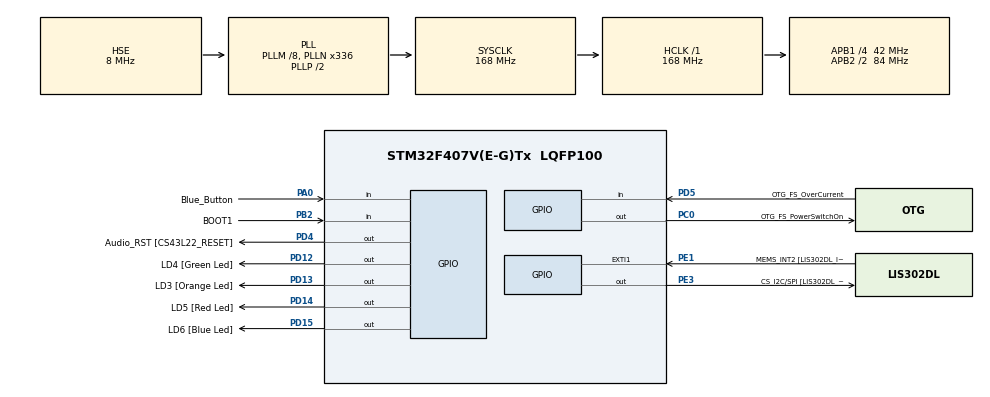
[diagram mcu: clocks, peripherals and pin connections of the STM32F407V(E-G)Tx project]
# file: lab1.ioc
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Mcu.Family=STM32F4
Mcu.Name=STM32F407V(E-G)Tx
Mcu.Package=LQFP100
NVIC.PriorityGroup=NVIC_PRIORITYGROUP_4
NVIC.TIM7_IRQn=true\:0\:0\:false\:false\:true\:false\:true\:true
NVIC.TimeBase=TIM7_IRQn
NVIC.TimeBaseIP=TIM7
PA0-WKUP.GPIO_Label=Blue_Button
PA0-WKUP.Signal=GPIO_Input
PA10.GPIO_Label=OTG_FS_ID
PA10.GPIO_Mode=GPIO_MODE_AF_PP
PA10.GPIO_PuPd=GPIO_NOPULL
PA10.GPIO_Speed=GPIO_SPEED_FREQ_LOW
PA10.Signal=USB_OTG_FS_ID
PA11.GPIO_Label=OTG_FS_DM
PA11.GPIO_Mode=GPIO_MODE_AF_PP
PA11.GPIO_PuPd=GPIO_NOPULL
PA11.GPIO_Speed=GPIO_SPEED_FREQ_LOW
PA11.Signal=USB_OTG_FS_DM
PA12.GPIO_Label=OTG_FS_DP
PA12.GPIO_Mode=GPIO_MODE_AF_PP
PA12.GPIO_PuPd=GPIO_NOPULL
PA12.GPIO_Speed=GPIO_SPEED_FREQ_LOW
PA12.Signal=USB_OTG_FS_DP
PA13.GPIO_Label=SWDIO
PA13.Mode=Serial_Wire
PA13.Signal=SYS_JTMS-SWDIO
PA14.GPIO_Label=SWCLK
PA14.Mode=Serial_Wire
PA14.Signal=SYS_JTCK-SWCLK
PA4.GPIO_Label=I2S3_WS [CS43L22_LRCK]
PA4.GPIO_Mode=GPIO_MODE_AF_PP
PA4.GPIO_PuPd=GPIO_NOPULL
PA4.GPIO_Speed=GPIO_SPEED_FREQ_LOW
PA4.Signal=I2S3_WS
PA5.GPIO_Label=SPI1_SCK [LIS302DL_SCL/SPC]
PA5.GPIO_Mode=GPIO_MODE_AF_PP
PA5.GPIO_PuPd=GPIO_NOPULL
PA5.GPIO_Speed=GPIO_SPEED_FREQ_LOW
PA5.Signal=SPI1_SCK
PA6.GPIO_Label=SPI1_MISO [LIS302DL_SDO]
PA6.GPIO_Mode=GPIO_MODE_AF_PP
PA6.GPIO_PuPd=GPIO_NOPULL
PA6.GPIO_Speed=GPIO_SPEED_FREQ_LOW
PA6.Signal=SPI1_MISO
PA7.GPIO_Label=SPI1_MOSI [LIS302DL_SDA/SDI/SDO]
PA7.GPIO_Mode=GPIO_MODE_AF_PP
PA7.GPIO_PuPd=GPIO_NOPULL
PA7.GPIO_Speed=GPIO_SPEED_FREQ_LOW
PA7.Signal=SPI1_MOSI
PA9.GPIO_Label=VBUS_FS
PA9.GPIO_Mode=GPIO_MODE_INPUT
PA9.GPIO_PuPd=GPIO_NOPULL
PA9.Signal=USB_OTG_FS_VBUS
PB10.GPIO_Label=CLK_IN [MP45DT02_CLK]
PB10.GPIO_Mode=GPIO_MODE_AF_PP
PB10.GPIO_PuPd=GPIO_NOPULL
PB10.GPIO_Speed=GPIO_SPEED_FREQ_LOW
PB10.Signal=I2S2_CK
PB2.GPIO_Label=BOOT1
PB2.GPIO_Mode=GPIO_MODE_INPUT
PB2.GPIO_PuPd=GPIO_NOPULL
PB2.Signal=GPIO_Input
PB3.GPIO_Label=SWO
PB3.Signal=SYS_JTDO-SWO
PB6.GPIO_Label=Audio_SCL [CS43L22_SCL]
PB6.GPIO_Mode=GPIO_MODE_AF_OD
PB6.GPIO_Pu=GPIO_PULLUP
PB6.GPIO_PuPd=GPIO_NOPULL
PB6.GPIO_Speed=GPIO_SPEED_FREQ_LOW
PB6.Signal=I2C1_SCL
PB9.GPIO_Label=Audio_SDA [CS43L22_SDA]
PB9.GPIO_Mode=GPIO_MODE_AF_OD
PB9.GPIO_Pu=GPIO_PULLUP
PB9.GPIO_PuPd=GPIO_NOPULL
PB9.GPIO_Speed=GPIO_SPEED_FREQ_LOW
PB9.Signal=I2C1_SDA
PC0.GPIO_Label=OTG_FS_PowerSwitchOn
PC0.GPIO_PuPd=GPIO_NOPULL
PC0.GPIO_Speed=GPIO_SPEED_FREQ_LOW
PC0.PinState=GPIO_PIN_SET
PC0.Signal=GPIO_Output
PC10.GPIO_Label=I2S3_SCK [CS43L22_SCLK]
PC10.GPIO_Mode=GPIO_MODE_AF_PP
PC10.GPIO_PuPd=GPIO_NOPULL
PC10.GPIO_Speed=GPIO_SPEED_FREQ_LOW
PC10.Signal=I2S3_CK
PC12.GPIO_Label=I2S3_SD [CS43L22_SDIN]
PC12.GPIO_Mode=GPIO_MODE_AF_PP
PC12.GPIO_PuPd=GPIO_NOPULL
PC12.GPIO_Speed=GPIO_SPEED_FREQ_LOW
PC12.Signal=I2S3_SD
PC14-OSC32_IN.GPIO_Label=PC14-OSC32_IN
PC14-OSC32_IN.Mode=LSE-External-Oscillator
PC14-OSC32_IN.Signal=RCC_OSC32_IN
PC15-OSC32_OUT.GPIO_Label=PC15-OSC32_OUT
PC15-OSC32_OUT.Mode=LSE-External-Oscillator
PC15-OSC32_OUT.Signal=RCC_OSC32_OUT
PC3.GPIO_Label=PDM_OUT [MP45DT02_DOUT]
PC3.GPIO_Mode=GPIO_MODE_AF_PP
PC3.GPIO_PuPd=GPIO_NOPULL
PC3.GPIO_Speed=GPIO_SPEED_FREQ_LOW
PC3.Signal=I2S2_SD
PC7.GPIO_Label=I2S3_MCK [CS43L22_MCLK]
PC7.GPIO_Mode=GPIO_MODE_AF_PP
PC7.GPIO_PuPd=GPIO_NOPULL
PC7.GPIO_Speed=GPIO_SPEED_FREQ_LOW
PC7.Signal=I2S3_MCK
PD12.GPIO_Label=LD4 [Green Led]
PD12.GPIO_PuPd=GPIO_NOPULL
PD12.GPIO_Speed=GPIO_SPEED_FREQ_LOW
PD12.Signal=GPIO_Output
PD13.GPIO_Label=LD3 [Orange Led]
PD13.GPIO_PuPd=GPIO_NOPULL
PD13.GPIO_Speed=GPIO_SPEED_FREQ_LOW
PD13.Signal=GPIO_Output
PD14.GPIO_Label=LD5 [Red Led]
PD14.GPIO_PuPd=GPIO_NOPULL
PD14.GPIO_Speed=GPIO_SPEED_FREQ_LOW
PD14.Signal=GPIO_Output
PD15.GPIO_Label=LD6 [Blue Led]
PD15.GPIO_PuPd=GPIO_NOPULL
PD15.GPIO_Speed=GPIO_SPEED_FREQ_LOW
PD15.Signal=GPIO_Output
PD4.GPIO_Label=Audio_RST [CS43L22_RESET]
PD4.GPIO_PuPd=GPIO_NOPULL
PD4.GPIO_Speed=GPIO_SPEED_FREQ_LOW
PD4.Signal=GPIO_Output
PD5.GPIO_Label=OTG_FS_OverCurrent
PD5.GPIO_Mode=GPIO_MODE_INPUT
PD5.GPIO_PuPd=GPIO_NOPULL
PD5.Signal=GPIO_Input
PE1.GPIO_Label=MEMS_INT2 [LIS302DL_INT2]
PE1.GPIO_ModeDefaultEXTI=GPIO_MODE_EVT_RISING
PE1.GPIO_PuPd=GPIO_NOPULL
PE1.Signal=GPXTI1
PE3.GPIO_Label=CS_I2C/SPI [LIS302DL_CS_I2C/SPI]
PE3.GPIO_PuPd=GPIO_NOPULL
PE3.GPIO_Speed=GPIO_SPEED_FREQ_LOW
PE3.Signal=GPIO_Output
PH0-OSC_IN.GPIO_Label=PH0-OSC_IN
PH0-OSC_IN.Mode=HSE-External-Oscillator
PH0-OSC_IN.Signal=RCC_OSC_IN
PH1-OSC_OUT.GPIO_Label=PH1-OSC_OUT
PH1-OSC_OUT.Mode=HSE-External-Oscillator
PH1-OSC_OUT.Signal=RCC_OSC_OUT
ProjectManager.HeapSize=0x200
ProjectManager.StackSize=0x400
ProjectManager.TargetToolchain=CMake
RCC.48MHZClocksFreq_Value=48000000
RCC.AHBFreq_Value=168000000
RCC.APB1CLKDivider=RCC_HCLK_DIV4
RCC.APB1Freq_Value=42000000
RCC.APB1TimFreq_Value=84000000
RCC.APB2CLKDivider=RCC_HCLK_DIV2
RCC.APB2Freq_Value=84000000
RCC.APB2TimFreq_Value=168000000
RCC.CortexFreq_Value=168000000
RCC.HCLKFreq_Value=168000000
RCC.HSE_VALUE=8000000
RCC.HSI_VALUE=16000000
RCC.PLLM=8
RCC.PLLN=336
RCC.PLLQ=7
RCC.PLLSourceVirtual=RCC_PLLSOURCE_HSE
RCC.SYSCLKFreq_VALUE=168000000
RCC.SYSCLKSource=RCC_SYSCLKSOURCE_PLLCLK
RCC.VCOOutputFreq_Value=336000000
VP_SYS_VS_tim7.Mode=TIM7
board=STM32F407G-DISC1

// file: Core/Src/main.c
/* USER CODE BEGIN Header */
/**
 ******************************************************************************
 * @file           : main.c
 * @brief          : Main program body
 ******************************************************************************
 * @attention
 *
 * Copyright (c) 2026 STMicroelectronics.
 * All rights reserved.
 *
 * This software is licensed under terms that can be found in the LICENSE file
 * in the root directory of this software component.
 * If no LICENSE file comes with this software, it is provided AS-IS.
 *
 ******************************************************************************
 */
/* USER CODE END Header */
#include "main.h"

/* USER CODE BEGIN Includes */
#include "FreeRTOS.h"
#include "queue.h"
#include "task.h"
/* USER CODE END Includes */

/* USER CODE BEGIN PM */
#define blink(pin, delay)                                                      \
  do {                                                                         \
    HAL_GPIO_WritePin(GPIOD, pin, GPIO_PIN_SET);                               \
    vTaskDelay(pdMS_TO_TICKS(delay));                                          \
    HAL_GPIO_WritePin(GPIOD, pin, GPIO_PIN_RESET);                             \
  } while (0)

#define keyPressed() (HAL_GPIO_ReadPin(GPIOA, GPIO_PIN_0) == GPIO_PIN_SET)
/* USER CODE END PM */

/* USER CODE BEGIN PV */
TaskHandle_t xLEDHandle = NULL;
TaskHandle_t xButtonHandle = NULL;

xQueueHandle xMsgQueue;
/* USER CODE END PV */

void SystemClock_Config(void);
static void MX_GPIO_Init(void);

/* USER CODE BEGIN 0 */
void LEDTask(void *pvParameters) {
  uint8_t ucSignal;
  uint8_t ucState = 0; // 0: s1, 1: s2
  uint8_t ucColor = 0; // 0: red, 1: orange, 2: green

  while (1) {
    if (xQueueReceive(xMsgQueue, &ucSignal, 0) == pdTRUE) {
      // Toggle the state
      ucState = (ucState == 0) ? 1 : 0;
    }

    if (ucState == 0) { // s1
      switch (ucColor) {
      case 0: // red
        blink(GPIO_PIN_14, 1000);
        ucColor = 1;
        break;
      case 1: // orange
        blink(GPIO_PIN_13, 1000);
        ucColor = 2;
        break;
      case 2: // green
        blink(GPIO_PIN_12, 1000);
        ucColor = 0;
        break;
      }
    } else { // s2
      blink(GPIO_PIN_13, 500);
      vTaskDelay(pdMS_TO_TICKS(500));
    }
  }
}

void ButtonTask(void *pvParameters) {
  uint8_t ucState = 0; // 0: resume, 1: suspend
  uint8_t ucCount = 0;
  uint8_t ucSignal = 1;

  while (1) {
    while (keyPressed()) {
      vTaskDelay(10);
      if (!keyPressed()) {
        break;
      }

      // Count how long the button is pressed
      while (keyPressed()) {
        if (ucCount >= 5) {
          break;
        }
        ucCount++;
        vTaskDelay(pdMS_TO_TICKS(200));
      }

      if (ucCount >= 5) { // Press more than 1 sec
        if (ucState == 0) {
          vTaskSuspend(xLEDHandle);
          ucState = 1;
        } else {
          vTaskResume(xLEDHandle);
          ucState = 0;
        }
      } else if (ucState == 0) { // LED is not suspended
        // Send signal to change LED state
        xQueueSend(xMsgQueue, &ucSignal, 0);
      }

      ucCount = 0;

      // Wait until button is released
      while (keyPressed()) {
        vTaskDelay(10);
      }
    }
  }
}
/* USER CODE END 0 */

int main(void) {

  /* MCU Configuration--------------------------------------------------------*/

  /* Reset of all peripherals, Initializes the Flash interface and the Systick.
   */
  HAL_Init();

  /* Configure the system clock */
  SystemClock_Config();

  /* Initialize all configured peripherals */
  MX_GPIO_Init();
  /* USER CODE BEGIN 2 */
  xMsgQueue = xQueueCreate(5, sizeof(uint8_t));

  xTaskCreate(LEDTask, "LED Task", 128, NULL, 3, &xLEDHandle);
  xTaskCreate(ButtonTask, "Button Task", 128, NULL, 1, &xButtonHandle);
  vTaskStartScheduler();
  /* USER CODE END 2 */

  /* Infinite loop */
  while (1) {

  }
}

void SystemClock_Config(void) {
  RCC_OscInitTypeDef RCC_OscInitStruct = {0};
  RCC_ClkInitTypeDef RCC_ClkInitStruct = {0};

  /** Configure the main internal regulator output voltage
   */
  __HAL_RCC_PWR_CLK_ENABLE();
  __HAL_PWR_VOLTAGESCALING_CONFIG(PWR_REGULATOR_VOLTAGE_SCALE1);

  /** Initializes the RCC Oscillators according to the specified parameters
   * in the RCC_OscInitTypeDef structure.
   */
  RCC_OscInitStruct.OscillatorType = RCC_OSCILLATORTYPE_HSE;
  RCC_OscInitStruct.HSEState = RCC_HSE_ON;
  RCC_OscInitStruct.PLL.PLLState = RCC_PLL_ON;
  RCC_OscInitStruct.PLL.PLLSource = RCC_PLLSOURCE_HSE;
  RCC_OscInitStruct.PLL.PLLM = 8;
  RCC_OscInitStruct.PLL.PLLN = 336;
  RCC_OscInitStruct.PLL.PLLP = RCC_PLLP_DIV2;
  RCC_OscInitStruct.PLL.PLLQ = 7;
  if (HAL_RCC_OscConfig(&RCC_OscInitStruct) != HAL_OK) {
    Error_Handler();
  }

  /** Initializes the CPU, AHB and APB buses clocks
   */
  RCC_ClkInitStruct.ClockType = RCC_CLOCKTYPE_HCLK | RCC_CLOCKTYPE_SYSCLK |
                                RCC_CLOCKTYPE_PCLK1 | RCC_CLOCKTYPE_PCLK2;
  RCC_ClkInitStruct.SYSCLKSource = RCC_SYSCLKSOURCE_PLLCLK;
  RCC_ClkInitStruct.AHBCLKDivider = RCC_SYSCLK_DIV1;
  RCC_ClkInitStruct.APB1CLKDivider = RCC_HCLK_DIV4;
  RCC_ClkInitStruct.APB2CLKDivider = RCC_HCLK_DIV2;

  if (HAL_RCC_ClockConfig(&RCC_ClkInitStruct, FLASH_LATENCY_5) != HAL_OK) {
    Error_Handler();
  }
}

static void MX_GPIO_Init(void) {
  GPIO_InitTypeDef GPIO_InitStruct = {0};

  /* GPIO Ports Clock Enable */
  __HAL_RCC_GPIOE_CLK_ENABLE();
  __HAL_RCC_GPIOC_CLK_ENABLE();
  __HAL_RCC_GPIOH_CLK_ENABLE();
  __HAL_RCC_GPIOA_CLK_ENABLE();
  __HAL_RCC_GPIOB_CLK_ENABLE();
  __HAL_RCC_GPIOD_CLK_ENABLE();

  /*Configure GPIO pin Output Level */
  HAL_GPIO_WritePin(CS_I2C_SPI_GPIO_Port, CS_I2C_SPI_Pin, GPIO_PIN_RESET);

  /*Configure GPIO pin Output Level */
  HAL_GPIO_WritePin(OTG_FS_PowerSwitchOn_GPIO_Port, OTG_FS_PowerSwitchOn_Pin,
                    GPIO_PIN_SET);

  /*Configure GPIO pin Output Level */
  HAL_GPIO_WritePin(GPIOD,
                    LD4_Pin | LD3_Pin | LD5_Pin | LD6_Pin | Audio_RST_Pin,
                    GPIO_PIN_RESET);

  /*Configure GPIO pin : CS_I2C_SPI_Pin */
  GPIO_InitStruct.Pin = CS_I2C_SPI_Pin;
  GPIO_InitStruct.Mode = GPIO_MODE_OUTPUT_PP;
  GPIO_InitStruct.Pull = GPIO_NOPULL;
  GPIO_InitStruct.Speed = GPIO_SPEED_FREQ_LOW;
  HAL_GPIO_Init(CS_I2C_SPI_GPIO_Port, &GPIO_InitStruct);

  /*Configure GPIO pin : OTG_FS_PowerSwitchOn_Pin */
  GPIO_InitStruct.Pin = OTG_FS_PowerSwitchOn_Pin;
  GPIO_InitStruct.Mode = GPIO_MODE_OUTPUT_PP;
  GPIO_InitStruct.Pull = GPIO_NOPULL;
  GPIO_InitStruct.Speed = GPIO_SPEED_FREQ_LOW;
  HAL_GPIO_Init(OTG_FS_PowerSwitchOn_GPIO_Port, &GPIO_InitStruct);

  /*Configure GPIO pin : PDM_OUT_Pin */
  GPIO_InitStruct.Pin = PDM_OUT_Pin;
  GPIO_InitStruct.Mode = GPIO_MODE_AF_PP;
  GPIO_InitStruct.Pull = GPIO_NOPULL;
  GPIO_InitStruct.Speed = GPIO_SPEED_FREQ_LOW;
  GPIO_InitStruct.Alternate = GPIO_AF5_SPI2;
  HAL_GPIO_Init(PDM_OUT_GPIO_Port, &GPIO_InitStruct);

  /*Configure GPIO pin : Blue_Button_Pin */
  GPIO_InitStruct.Pin = Blue_Button_Pin;
  GPIO_InitStruct.Mode = GPIO_MODE_INPUT;
  GPIO_InitStruct.Pull = GPIO_NOPULL;
  HAL_GPIO_Init(Blue_Button_GPIO_Port, &GPIO_InitStruct);

  /*Configure GPIO pin : I2S3_WS_Pin */
  GPIO_InitStruct.Pin = I2S3_WS_Pin;
  GPIO_InitStruct.Mode = GPIO_MODE_AF_PP;
  GPIO_InitStruct.Pull = GPIO_NOPULL;
  GPIO_InitStruct.Speed = GPIO_SPEED_FREQ_LOW;
  GPIO_InitStruct.Alternate = GPIO_AF6_SPI3;
  HAL_GPIO_Init(I2S3_WS_GPIO_Port, &GPIO_InitStruct);

  /*Configure GPIO pins : SPI1_SCK_Pin SPI1_MISO_Pin SPI1_MOSI_Pin */
  GPIO_InitStruct.Pin = SPI1_SCK_Pin | SPI1_MISO_Pin | SPI1_MOSI_Pin;
  GPIO_InitStruct.Mode = GPIO_MODE_AF_PP;
  GPIO_InitStruct.Pull = GPIO_NOPULL;
  GPIO_InitStruct.Speed = GPIO_SPEED_FREQ_LOW;
  GPIO_InitStruct.Alternate = GPIO_AF5_SPI1;
  HAL_GPIO_Init(GPIOA, &GPIO_InitStruct);

  /*Configure GPIO pin : BOOT1_Pin */
  GPIO_InitStruct.Pin = BOOT1_Pin;
  GPIO_InitStruct.Mode = GPIO_MODE_INPUT;
  GPIO_InitStruct.Pull = GPIO_NOPULL;
  HAL_GPIO_Init(BOOT1_GPIO_Port, &GPIO_InitStruct);

  /*Configure GPIO pin : CLK_IN_Pin */
  GPIO_InitStruct.Pin = CLK_IN_Pin;
  GPIO_InitStruct.Mode = GPIO_MODE_AF_PP;
  GPIO_InitStruct.Pull = GPIO_NOPULL;
  GPIO_InitStruct.Speed = GPIO_SPEED_FREQ_LOW;
  GPIO_InitStruct.Alternate = GPIO_AF5_SPI2;
  HAL_GPIO_Init(CLK_IN_GPIO_Port, &GPIO_InitStruct);

  /*Configure GPIO pins : LD4_Pin LD3_Pin LD5_Pin LD6_Pin
                           Audio_RST_Pin */
  GPIO_InitStruct.Pin = LD4_Pin | LD3_Pin | LD5_Pin | LD6_Pin | Audio_RST_Pin;
  GPIO_InitStruct.Mode = GPIO_MODE_OUTPUT_PP;
  GPIO_InitStruct.Pull = GPIO_NOPULL;
  GPIO_InitStruct.Speed = GPIO_SPEED_FREQ_LOW;
  HAL_GPIO_Init(GPIOD, &GPIO_InitStruct);

  /*Configure GPIO pins : I2S3_MCK_Pin I2S3_SCK_Pin I2S3_SD_Pin */
  GPIO_InitStruct.Pin = I2S3_MCK_Pin | I2S3_SCK_Pin | I2S3_SD_Pin;
  GPIO_InitStruct.Mode = GPIO_MODE_AF_PP;
  GPIO_InitStruct.Pull = GPIO_NOPULL;
  GPIO_InitStruct.Speed = GPIO_SPEED_FREQ_LOW;
  GPIO_InitStruct.Alternate = GPIO_AF6_SPI3;
  HAL_GPIO_Init(GPIOC, &GPIO_InitStruct);

  /*Configure GPIO pin : VBUS_FS_Pin */
  GPIO_InitStruct.Pin = VBUS_FS_Pin;
  GPIO_InitStruct.Mode = GPIO_MODE_INPUT;
  GPIO_InitStruct.Pull = GPIO_NOPULL;
  HAL_GPIO_Init(VBUS_FS_GPIO_Port, &GPIO_InitStruct);

  /*Configure GPIO pins : OTG_FS_ID_Pin OTG_FS_DM_Pin OTG_FS_DP_Pin */
  GPIO_InitStruct.Pin = OTG_FS_ID_Pin | OTG_FS_DM_Pin | OTG_FS_DP_Pin;
  GPIO_InitStruct.Mode = GPIO_MODE_AF_PP;
  GPIO_InitStruct.Pull = GPIO_NOPULL;
  GPIO_InitStruct.Speed = GPIO_SPEED_FREQ_LOW;
  GPIO_InitStruct.Alternate = GPIO_AF10_OTG_FS;
  HAL_GPIO_Init(GPIOA, &GPIO_InitStruct);

  /*Configure GPIO pin : OTG_FS_OverCurrent_Pin */
  GPIO_InitStruct.Pin = OTG_FS_OverCurrent_Pin;
  GPIO_InitStruct.Mode = GPIO_MODE_INPUT;
  GPIO_InitStruct.Pull = GPIO_NOPULL;
  HAL_GPIO_Init(OTG_FS_OverCurrent_GPIO_Port, &GPIO_InitStruct);

  /*Configure GPIO pins : Audio_SCL_Pin Audio_SDA_Pin */
  GPIO_InitStruct.Pin = Audio_SCL_Pin | Audio_SDA_Pin;
  GPIO_InitStruct.Mode = GPIO_MODE_AF_OD;
  GPIO_InitStruct.Pull = GPIO_PULLUP;
  GPIO_InitStruct.Speed = GPIO_SPEED_FREQ_LOW;
  GPIO_InitStruct.Alternate = GPIO_AF4_I2C1;
  HAL_GPIO_Init(GPIOB, &GPIO_InitStruct);

  /*Configure GPIO pin : MEMS_INT2_Pin */
  GPIO_InitStruct.Pin = MEMS_INT2_Pin;
  GPIO_InitStruct.Mode = GPIO_MODE_EVT_RISING;
  GPIO_InitStruct.Pull = GPIO_NOPULL;
  HAL_GPIO_Init(MEMS_INT2_GPIO_Port, &GPIO_InitStruct);

}

void HAL_TIM_PeriodElapsedCallback(TIM_HandleTypeDef *htim) {
  if (htim->Instance == TIM7) {
    HAL_IncTick();
  }
}

void Error_Handler(void) {
  __disable_irq();
  while (1) {
  }
}
#ifdef USE_FULL_ASSERT
/**
 * @brief  Reports the name of the source file and the source line number
 *         where the assert_param error has occurred.
 * @param  file: pointer to the source file name
 * @param  line: assert_param error line source number
 * @retval None
 */
void assert_failed(uint8_t *file, uint32_t line) {
  /* USER CODE BEGIN 6 */
  /* User can add his own implementation to report the file name and line
     number, ex: printf("Wrong parameters value: file %s on line %d\r\n", file,
     line) */
  /* USER CODE END 6 */
}
#endif /* USE_FULL_ASSERT */
